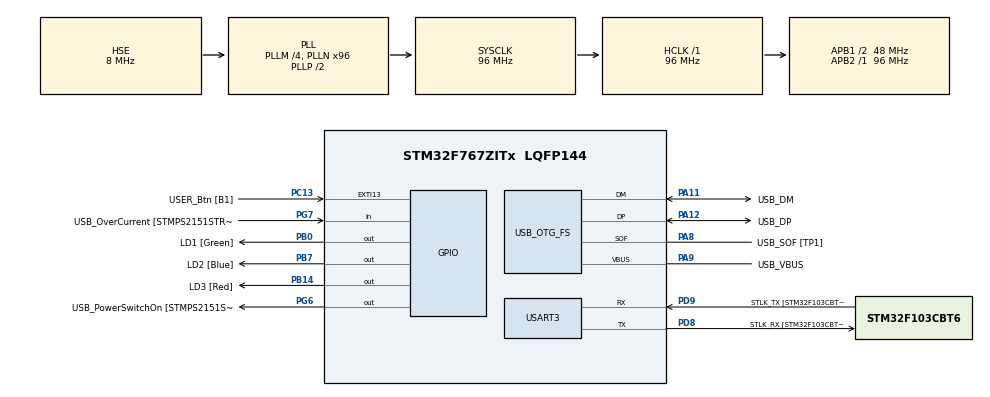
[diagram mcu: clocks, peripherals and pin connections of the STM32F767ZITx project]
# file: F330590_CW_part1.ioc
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Mcu.Family=STM32F7
Mcu.Name=STM32F767ZITx
Mcu.Package=LQFP144
NVIC.PriorityGroup=NVIC_PRIORITYGROUP_4
PA1.GPIO_Label=RMII_REF_CLK [LAN8742A-CZ-TR_REFCLK0]
PA1.Signal=ETH_REF_CLK
PA10.GPIO_Label=USB_ID
PA10.Signal=USB_OTG_FS_ID
PA11.GPIO_Label=USB_DM
PA11.Mode=Device_Only
PA11.Signal=USB_OTG_FS_DM
PA12.GPIO_Label=USB_DP
PA12.Mode=Device_Only
PA12.Signal=USB_OTG_FS_DP
PA13.GPIO_Label=TMS
PA13.Mode=Serial_Wire
PA13.Signal=SYS_JTMS-SWDIO
PA14.GPIO_Label=TCK
PA14.Mode=Serial_Wire
PA14.Signal=SYS_JTCK-SWCLK
PA2.GPIO_Label=RMII_MDIO [LAN8742A-CZ-TR_MDIO]
PA2.Signal=ETH_MDIO
PA7.GPIO_Label=RMII_CRS_DV [LAN8742A-CZ-TR_CRS_DV]
PA7.Signal=ETH_CRS_DV
PA8.GPIO_Label=USB_SOF [TP1]
PA8.Mode=Activate_SOF_FS
PA8.Signal=USB_OTG_FS_SOF
PA9.GPIO_Label=USB_VBUS
PA9.Mode=Activate_VBUS
PA9.Signal=USB_OTG_FS_VBUS
PB0.GPIO_Label=LD1 [Green]
PB0.Signal=GPIO_Output
PB13.GPIO_Label=RMII_TXD1 [LAN8742A-CZ-TR_TXD1]
PB13.Signal=ETH_TXD1
PB14.GPIO_Label=LD3 [Red]
PB14.Signal=GPIO_Output
PB3.GPIO_Label=SWO
PB3.Signal=SYS_JTDO-SWO
PB7.GPIO_Label=LD2 [Blue]
PB7.Signal=GPIO_Output
PC1.GPIO_Label=RMII_MDC [LAN8742A-CZ-TR_MDC]
PC1.Signal=ETH_MDC
PC13.GPIO_Label=USER_Btn [B1]
PC13.Signal=GPXTI13
PC14/OSC32_IN.Mode=LSE-External-Oscillator
PC14/OSC32_IN.Signal=RCC_OSC32_IN
PC15/OSC32_OUT.Mode=LSE-External-Oscillator
PC15/OSC32_OUT.Signal=RCC_OSC32_OUT
PC4.GPIO_Label=RMII_RXD0 [LAN8742A-CZ-TR_RXD0]
PC4.Signal=ETH_RXD0
PC5.GPIO_Label=RMII_RXD1 [LAN8742A-CZ-TR_RXD1]
PC5.Signal=ETH_RXD1
PD8.GPIO_Label=STLK_RX [STM32F103CBT6_PA3]
PD8.Mode=Asynchronous
PD8.Signal=USART3_TX
PD9.GPIO_Label=STLK_TX [STM32F103CBT6_PA2]
PD9.Mode=Asynchronous
PD9.Signal=USART3_RX
PG11.GPIO_Label=RMII_TX_EN [LAN8742A-CZ-TR_TXEN]
PG11.Signal=ETH_TX_EN
PG13.GPIO_Label=RMII_TXD0 [LAN8742A-CZ-TR_TXD0]
PG13.Signal=ETH_TXD0
PG6.GPIO_Label=USB_PowerSwitchOn [STMPS2151STR_EN]
PG6.Signal=GPIO_Output
PG7.GPIO_Label=USB_OverCurrent [STMPS2151STR_FAULT]
PG7.Signal=GPIO_Input
PH0/OSC_IN.GPIO_Label=MCO [STM32F103CBT6_PA8]
PH0/OSC_IN.Mode=HSE-External-Clock-Source
PH0/OSC_IN.Signal=RCC_OSC_IN
PH1/OSC_OUT.Mode=HSE-External-Clock-Source
PH1/OSC_OUT.Signal=RCC_OSC_OUT
ProjectManager.HeapSize=0x200
ProjectManager.StackSize=0x400
ProjectManager.TargetToolchain=STM32CubeIDE
RCC.48MHZClocksFreq_Value=24000000
RCC.AHBFreq_Value=96000000
RCC.APB1CLKDivider=RCC_HCLK_DIV2
RCC.APB1Freq_Value=48000000
RCC.APB1TimFreq_Value=96000000
RCC.APB2Freq_Value=96000000
RCC.APB2TimFreq_Value=96000000
RCC.CortexFreq_Value=96000000
RCC.HCLKFreq_Value=96000000
RCC.HSE_VALUE=8000000
RCC.HSI_VALUE=16000000
RCC.PLLM=4
RCC.PLLMUL=RCC_PLL_MUL9
RCC.PLLN=96
RCC.PLLQ=4
RCC.PRESCALERUSB=RCC_USBCLKSOURCE_PLL_DIV1_5
RCC.SYSCLKFreq_VALUE=96000000
RCC.SYSCLKSource=RCC_SYSCLKSOURCE_PLLCLK
RCC.SYSCLKSourceVirtual=RCC_SYSCLKSOURCE_PLLCLK
RCC.USBFreq_Value=48000000
RCC.VCOOutputFreq_Value=192000000
TIM11.Prescaler=96
USART3.VirtualMode-Asynchronous=VM_ASYNC
USB_OTG_FS.VirtualMode=Device_Only
VP_TIM11_VS_ClockSourceINT.Mode=Enable_Timer
board=NUCLEO-F767ZI

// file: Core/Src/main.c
/* USER CODE BEGIN Header */
/**
  ******************************************************************************
  * @file           : main.c
  * @brief          : Main program body
  ******************************************************************************
  * @attention
  *
  * Copyright (c) 2026 STMicroelectronics.
  * All rights reserved.
  *
  * This software is licensed under terms that can be found in the LICENSE file
  * in the root directory of this software component.
  * If no LICENSE file comes with this software, it is provided AS-IS.
  *
  ******************************************************************************
  */
/* USER CODE END Header */
#include "main.h"

/* USER CODE BEGIN Includes */
#include <stdbool.h>
#include <stdlib.h>
#include <string.h>
#include <math.h>
#include <stdio.h>
#include "stm32f7xx_ll_cortex.h"
/* USER CODE END Includes */

/* USER CODE BEGIN PTD */
typedef struct linked_list linked_list_t;
typedef struct neural_net neural_net_t;
/* USER CODE END PTD */

TIM_HandleTypeDef htim11;
UART_HandleTypeDef huart3;
PCD_HandleTypeDef hpcd_USB_OTG_FS;

void SystemClock_Config(void);
static void MX_GPIO_Init(void);
static void MX_USART3_UART_Init(void);
static void MX_USB_OTG_FS_PCD_Init(void);
static void MX_TIM11_Init(void);
/* USER CODE BEGIN PFP */
#ifdef __GNUC__
/* With GCC/RAISONANCE, small printf (option LD Linker->Libraries->Small printf
set to 'Yes') calls __io_putchar() */
#define PUTCHAR_PROTOTYPE int __io_putchar(int ch)
#else
#define PUTCHAR_PROTOTYPE int fputc(int ch, FILE *f)
#endif /* __GNUC__ */
/**
* @brief Retargets the C library printf function to the USART.
* @param None
* @retval None
*/
PUTCHAR_PROTOTYPE
{
/* Place your implementation of fputc here */
/* e.g. write a character to the USART1 and Loop until the end of transmission */
	HAL_UART_Transmit(&huart3, (uint8_t *)&ch, 1, 0xFFFF);
	return ch;
}

linked_list_t* new_linked_list();

bool linked_list_append(linked_list_t *list, void *data);

void *linked_list_remove(linked_list_t *list, int index);

bool linked_list_start_iterator(linked_list_t *list);

void *linked_list_get_next(linked_list_t *list);

int linked_list_length(linked_list_t *list);

void *linked_list_get_last(linked_list_t *list);

neural_net_t* create_neural_net();

void neural_net_add_layer(neural_net_t *neural_net);

void neural_net_add_neuron(neural_net_t *neural_net, double *weights, int n_weights, double bias);

double * neural_net_run(neural_net_t* neural_net, double *data, int len);

uint32_t getCurrentMicros(void);

/* USER CODE END PFP */

/* USER CODE BEGIN 0 */
char uart_buf[50];
int uart_buf_len;
uint16_t timer_val;

int classify (double *results, int size_results){

    int final_class = 0;
    double final_score = *results;
    int i;

    for(i = 1 ; i < size_results ; i++){

        if(results[i] > final_score){
            final_class = i;
            final_score = results[i];

        }

    }

    return final_class;
}

uint32_t getCurrentMicros(void)
{
	LL_SYSTICK_IsActiveCounterFlag();
	uint32_t m = HAL_GetTick();
	const uint32_t tms = SysTick->LOAD + 1;
	__IO uint32_t u = tms - SysTick->VAL;
	if (LL_SYSTICK_IsActiveCounterFlag())
	{
		m = HAL_GetTick();
		u = tms - SysTick->VAL;
	}
	return (m*1000+(u*1000)/tms);
}

struct neural_net{

	    linked_list_t *layers;

	};

	typedef struct{

	    linked_list_t* neurons;
	//  double bias;

	}layer_t;

	typedef struct{

	    double* weights;
	    double bias;
	    int n_weights;

	}neuron_t;

	neural_net_t* create_neural_net(){

	    neural_net_t *neural_net = (neural_net_t*)malloc(sizeof(neural_net_t));
	    neural_net->layers = new_linked_list();

	    return neural_net;

	}

	void neural_net_add_layer(neural_net_t *neural_net){

	    layer_t *layer = malloc(sizeof(layer_t));
	    layer->neurons = new_linked_list();
	    linked_list_append(neural_net->layers, layer);

	}

	void neural_net_add_neuron(neural_net_t *neural_net, double *weights, int n_weights, double bias){

	    layer_t *last_layer = linked_list_get_last(neural_net->layers);

	    neuron_t *neuron  = (neuron_t*)malloc(sizeof(neuron_t));
	    neuron->weights = weights;
	    neuron->n_weights = n_weights;
	    neuron->bias = bias;

	    linked_list_append(last_layer->neurons, neuron);

	}

	double _activation_func(double val){
	    return 1/(1+exp(-val));
	}

	double _neuron_evaluate(neuron_t* neuron, double *data){

	    int i;
	    double result;
	    for(i = 0, result = 0 ; i <  neuron->n_weights ; i++){

	        result += neuron->weights[i] * data[i];

	    }

	    return _activation_func(result + neuron->bias);
	}

	double * neural_net_run(neural_net_t* neural_net, double *data, int len){

	    layer_t *layer;
	    neuron_t *neuron;
	    int i;
	    double result;
	    double *prev_outputs = (double *)malloc(sizeof(double)*len);
	    double *next_outputs = NULL;

	    linked_list_start_iterator(neural_net->layers);

	    memcpy(prev_outputs, data, sizeof(double)*len);

	    while(layer = linked_list_get_next(neural_net->layers)){

	        linked_list_start_iterator(layer->neurons);
	        result = 0;
	        next_outputs = malloc(sizeof(double) * (linked_list_length(layer->neurons)));
	//      next_outputs[linked_list_length(layer->neurons)] = layer->bias;
	        i = 0;

	        while(neuron = linked_list_get_next(layer->neurons)){

	            next_outputs[i] = _neuron_evaluate(neuron, prev_outputs);
	            i++;

	        }

	        free(prev_outputs);
	        prev_outputs = next_outputs;

	    }

	    return prev_outputs;
	}

	typedef struct node node_t;

	struct node{

	    void *data;
	    node_t *next;

	};

	struct linked_list{

	    node_t *head;
	    node_t *tail;
	    node_t *iterator;
	    int length;

	};

	linked_list_t* new_linked_list(){

	    linked_list_t *linked_list = (linked_list_t*)malloc(sizeof(linked_list_t));

	    linked_list->head = NULL;
	    linked_list->iterator = NULL;
	    linked_list->tail = NULL;
	    linked_list->length = 0;

	    return linked_list;

	}

	bool linked_list_append(linked_list_t *list, void *data){

	    node_t *node = (node_t*) malloc(sizeof(node_t));

	    node->data = data;
	    node->next = NULL;

	    if(list->head == NULL){
	        list->head = node;
	        list->tail = node;
	    }else{
	        list->tail->next = node;
	        list->tail = node;
	    }

	    list->length++;

	}

	void *linked_list_remove(linked_list_t *list, int index){

	    if(index >= list->length){
	        return NULL;
	    }

	    if(index == 0){

	        void *data = list->head->data;
	        node_t *node_to_remove = list->head;
	        list->head = list->head->next;

	        free(node_to_remove);

	        if(list->head == NULL){
	            list->tail == NULL;
	        }

	        list->length--;
	        return data;

	    }

	    int current_index = 0;
	    node_t* node = list->head;

	    while(current_index < index - 1){
	        current_index++;
	        node = node->next;
	    }

	    node_t* node_to_remove = node->next;
	    node->next = node_to_remove->next;
	    void *data = node_to_remove->data;

	    if(index == list->length - 1){
	        list->tail = node;
	    }

	    free(node_to_remove);
	    list->length--;

	    return data;

	}

	bool linked_list_start_iterator(linked_list_t *list){
	    list->iterator = list->head;
	}

	void *linked_list_get_next(linked_list_t *list){

	    if(list->iterator == NULL){
	        return NULL;
	    }

	    void *data = list->iterator->data;
	    list->iterator = list->iterator->next;
	    return data;

	}

	int linked_list_length(linked_list_t *list){

	    return list->length;

	}

	void *linked_list_get_last(linked_list_t *list){

	    return list->tail->data;

	}

/* USER CODE END 0 */

int main(void)
{

  /* MCU Configuration--------------------------------------------------------*/

  /* Reset of all peripherals, Initializes the Flash interface and the Systick. */
  HAL_Init();

  /* Configure the system clock */
  SystemClock_Config();

  /* Initialize all configured peripherals */
  MX_GPIO_Init();
  MX_USART3_UART_Init();
  MX_USB_OTG_FS_PCD_Init();
  MX_TIM11_Init();
  /* USER CODE BEGIN 2 */
  HAL_TIM_Base_Start(&htim11);
  int i;
  const double *result;
  int run;
  int max_run = 10; // Change this value to change the number of runs.
  uint32_t run_times[max_run];
  uint32_t start_time;
  uint32_t end_time;
  uint32_t run_time;
  uint32_t total_time = 0;
  uint32_t avg_time = 0;

      neural_net_t *neural_net = create_neural_net();

      neural_net_add_layer(neural_net);
      double w_0_0[] = { 0.18284023, -0.8529724 ,  0.9295352 ,  0.27745247};
      neural_net_add_neuron(neural_net, w_0_0,  4, -0.5623624);

      double w_0_1[] = {-0.17880775, -0.42715448,  0.5908963 ,  0.45988828};
      neural_net_add_neuron(neural_net, w_0_1,  4, -0.05714933);

      double w_0_2[] = {-0.48771185, -0.3112061 , -0.3137951 ,  0.5289104 };
      neural_net_add_neuron(neural_net, w_0_2,  4, -0.053803623);

      double w_0_3[] = { 0.24778503,  0.9340235 , -1.4063437 , -1.3005494 };
      neural_net_add_neuron(neural_net, w_0_3,  4, 0.27202815);

      double w_0_4[] = { 0.72132677, -0.12656425, -1.1483048 , -0.083784  };
      neural_net_add_neuron(neural_net, w_0_4,  4, 0.41053805);

      double w_0_5[] = { 0.05532144,  0.47561175, -0.17761162, -1.3145427 };
      neural_net_add_neuron(neural_net, w_0_5,  4, 0.28362706);

      double w_0_6[] = { 0.12644108, -0.6311569 ,  0.03945397, -0.53849036};
      neural_net_add_neuron(neural_net, w_0_6,  4, 0.025350625);

      double w_0_7[] = { 0.21844819,  0.30629316, -0.961491  , -0.46816182};
      neural_net_add_neuron(neural_net, w_0_7,  4, 0.6091357);

      neural_net_add_layer(neural_net);
      double w_1_0[] = {-1.2635437 , -1.316526  ,  0.28543112,  1.3884338 ,  0.45282924,
        1.0371606 ,  0.12748991,  0.6325952 };
      neural_net_add_neuron(neural_net, w_1_0,  8, -0.43309692);

      double w_1_1[] = { 0.497385  , -0.632777  ,  0.38966534, -1.2256211 , -0.19634834,
        0.25377455,  0.6375568 , -0.5464157 };
      neural_net_add_neuron(neural_net, w_1_1,  8, -0.14760242);

      double w_1_2[] = { 0.3835234 ,  0.10146759, -0.32170305, -1.1918751 , -1.1514843 ,
       -0.8062826 , -0.69583875, -0.74578637};
      neural_net_add_neuron(neural_net, w_1_2,  8, 0.14179966);

      	static const double test_data[150][6] = {
        {0,5.1,3.5,1.4,0.2,0.0},
        {1,4.9,3.0,1.4,0.2,0.0},
        {2,4.7,3.2,1.3,0.2,0.0},
        {3,4.6,3.1,1.5,0.2,0.0},
        {4,5.0,3.6,1.4,0.2,0.0},
        {5,5.4,3.9,1.7,0.4,0.0},
        {6,4.6,3.4,1.4,0.3,0.0},
        {7,5.0,3.4,1.5,0.2,0.0},
        {8,4.4,2.9,1.4,0.2,0.0},
        {9,4.9,3.1,1.5,0.1,0.0},
        {10,5.4,3.7,1.5,0.2,0.0},
        {11,4.8,3.4,1.6,0.2,0.0},
        {12,4.8,3.0,1.4,0.1,0.0},
        {13,4.3,3.0,1.1,0.1,0.0},
        {14,5.8,4.0,1.2,0.2,0.0},
        {15,5.7,4.4,1.5,0.4,0.0},
        {16,5.4,3.9,1.3,0.4,0.0},
        {17,5.1,3.5,1.4,0.3,0.0},
        {18,5.7,3.8,1.7,0.3,0.0},
        {19,5.1,3.8,1.5,0.3,0.0},
        {20,5.4,3.4,1.7,0.2,0.0},
        {21,5.1,3.7,1.5,0.4,0.0},
        {22,4.6,3.6,1.0,0.2,0.0},
        {23,5.1,3.3,1.7,0.5,0.0},
        {24,4.8,3.4,1.9,0.2,0.0},
        {25,5.0,3.0,1.6,0.2,0.0},
        {26,5.0,3.4,1.6,0.4,0.0},
        {27,5.2,3.5,1.5,0.2,0.0},
        {28,5.2,3.4,1.4,0.2,0.0},
        {29,4.7,3.2,1.6,0.2,0.0},
        {30,4.8,3.1,1.6,0.2,0.0},
        {31,5.4,3.4,1.5,0.4,0.0},
        {32,5.2,4.1,1.5,0.1,0.0},
        {33,5.5,4.2,1.4,0.2,0.0},
        {34,4.9,3.1,1.5,0.2,0.0},
        {35,5.0,3.2,1.2,0.2,0.0},
        {36,5.5,3.5,1.3,0.2,0.0},
        {37,4.9,3.6,1.4,0.1,0.0},
        {38,4.4,3.0,1.3,0.2,0.0},
        {39,5.1,3.4,1.5,0.2,0.0},
        {40,5.0,3.5,1.3,0.3,0.0},
        {41,4.5,2.3,1.3,0.3,0.0},
        {42,4.4,3.2,1.3,0.2,0.0},
        {43,5.0,3.5,1.6,0.6,0.0},
        {44,5.1,3.8,1.9,0.4,0.0},
        {45,4.8,3.0,1.4,0.3,0.0},
        {46,5.1,3.8,1.6,0.2,0.0},
        {47,4.6,3.2,1.4,0.2,0.0},
        {48,5.3,3.7,1.5,0.2,0.0},
        {49,5.0,3.3,1.4,0.2,0.0},
        {50,7.0,3.2,4.7,1.4,1.0},
        {51,6.4,3.2,4.5,1.5,1.0},
        {52,6.9,3.1,4.9,1.5,1.0},
        {53,5.5,2.3,4.0,1.3,1.0},
        {54,6.5,2.8,4.6,1.5,1.0},
        {55,5.7,2.8,4.5,1.3,1.0},
        {56,6.3,3.3,4.7,1.6,1.0},
        {57,4.9,2.4,3.3,1.0,1.0},
        {58,6.6,2.9,4.6,1.3,1.0},
        {59,5.2,2.7,3.9,1.4,1.0},
        {60,5.0,2.0,3.5,1.0,1.0},
        {61,5.9,3.0,4.2,1.5,1.0},
        {62,6.0,2.2,4.0,1.0,1.0},
        {63,6.1,2.9,4.7,1.4,1.0},
        {64,5.6,2.9,3.6,1.3,1.0},
        {65,6.7,3.1,4.4,1.4,1.0},
        {66,5.6,3.0,4.5,1.5,1.0},
        {67,5.8,2.7,4.1,1.0,1.0},
        {68,6.2,2.2,4.5,1.5,1.0},
        {69,5.6,2.5,3.9,1.1,1.0},
        {70,5.9,3.2,4.8,1.8,1.0},
        {71,6.1,2.8,4.0,1.3,1.0},
        {72,6.3,2.5,4.9,1.5,1.0},
        {73,6.1,2.8,4.7,1.2,1.0},
        {74,6.4,2.9,4.3,1.3,1.0},
        {75,6.6,3.0,4.4,1.4,1.0},
        {76,6.8,2.8,4.8,1.4,1.0},
        {77,6.7,3.0,5.0,1.7,1.0},
        {78,6.0,2.9,4.5,1.5,1.0},
        {79,5.7,2.6,3.5,1.0,1.0},
        {80,5.5,2.4,3.8,1.1,1.0},
        {81,5.5,2.4,3.7,1.0,1.0},
        {82,5.8,2.7,3.9,1.2,1.0},
        {83,6.0,2.7,5.1,1.6,1.0},
        {84,5.4,3.0,4.5,1.5,1.0},
        {85,6.0,3.4,4.5,1.6,1.0},
        {86,6.7,3.1,4.7,1.5,1.0},
        {87,6.3,2.3,4.4,1.3,1.0},
        {88,5.6,3.0,4.1,1.3,1.0},
        {89,5.5,2.5,4.0,1.3,1.0},
        {90,5.5,2.6,4.4,1.2,1.0},
        {91,6.1,3.0,4.6,1.4,1.0},
        {92,5.8,2.6,4.0,1.2,1.0},
        {93,5.0,2.3,3.3,1.0,1.0},
        {94,5.6,2.7,4.2,1.3,1.0},
        {95,5.7,3.0,4.2,1.2,1.0},
        {96,5.7,2.9,4.2,1.3,1.0},
        {97,6.2,2.9,4.3,1.3,1.0},
        {98,5.1,2.5,3.0,1.1,1.0},
        {99,5.7,2.8,4.1,1.3,1.0},
        {100,6.3,3.3,6.0,2.5,2.0},
        {101,5.8,2.7,5.1,1.9,2.0},
        {102,7.1,3.0,5.9,2.1,2.0},
        {103,6.3,2.9,5.6,1.8,2.0},
        {104,6.5,3.0,5.8,2.2,2.0},
        {105,7.6,3.0,6.6,2.1,2.0},
        {106,4.9,2.5,4.5,1.7,2.0},
        {107,7.3,2.9,6.3,1.8,2.0},
        {108,6.7,2.5,5.8,1.8,2.0},
        {109,7.2,3.6,6.1,2.5,2.0},
        {110,6.5,3.2,5.1,2.0,2.0},
        {111,6.4,2.7,5.3,1.9,2.0},
        {112,6.8,3.0,5.5,2.1,2.0},
        {113,5.7,2.5,5.0,2.0,2.0},
        {114,5.8,2.8,5.1,2.4,2.0},
        {115,6.4,3.2,5.3,2.3,2.0},
        {116,6.5,3.0,5.5,1.8,2.0},
        {117,7.7,3.8,6.7,2.2,2.0},
        {118,7.7,2.6,6.9,2.3,2.0},
        {119,6.0,2.2,5.0,1.5,2.0},
        {120,6.9,3.2,5.7,2.3,2.0},
        {121,5.6,2.8,4.9,2.0,2.0},
        {122,7.7,2.8,6.7,2.0,2.0},
        {123,6.3,2.7,4.9,1.8,2.0},
        {124,6.7,3.3,5.7,2.1,2.0},
        {125,7.2,3.2,6.0,1.8,2.0},
        {126,6.2,2.8,4.8,1.8,2.0},
        {127,6.1,3.0,4.9,1.8,2.0},
        {128,6.4,2.8,5.6,2.1,2.0},
        {129,7.2,3.0,5.8,1.6,2.0},
        {130,7.4,2.8,6.1,1.9,2.0},
        {131,7.9,3.8,6.4,2.0,2.0},
        {132,6.4,2.8,5.6,2.2,2.0},
        {133,6.3,2.8,5.1,1.5,2.0},
        {134,6.1,2.6,5.6,1.4,2.0},
        {135,7.7,3.0,6.1,2.3,2.0},
        {136,6.3,3.4,5.6,2.4,2.0},
        {137,6.4,3.1,5.5,1.8,2.0},
        {138,6.0,3.0,4.8,1.8,2.0},
        {139,6.9,3.1,5.4,2.1,2.0},
        {140,6.7,3.1,5.6,2.4,2.0},
        {141,6.9,3.1,5.1,2.3,2.0},
        {142,5.8,2.7,5.1,1.9,2.0},
        {143,6.8,3.2,5.9,2.3,2.0},
        {144,6.7,3.3,5.7,2.5,2.0},
        {145,6.7,3.0,5.2,2.3,2.0},
        {146,6.3,2.5,5.0,1.9,2.0},
        {147,6.5,3.0,5.2,2.0,2.0},
        {148,6.2,3.4,5.4,2.3,2.0},
        {149,5.9,3.0,5.1,1.8,2.0}
    };

      for(run = 0; run < max_run; run++){
          run_time = 0;
          for(i = 0; i < 150; i++){
              start_time = getCurrentMicros();
              result = neural_net_run(neural_net, test_data[i] + 1, 4);
              end_time = getCurrentMicros();
              run_time += (end_time - start_time);

              printf("%lf %lf %lf -> %d\n", *result, result[1], result[2], classify(result, 3));
              free(result);
          }
          run_times[run] = run_time; // The current run_time is appended to the array run_times, so that it can be accessed later.
          total_time += run_time;
      }

      // run_times stored in the array are accessed one by one and printed at the end the execution time of each run.
      for(run = 0; run < max_run; run++){
          uart_buf_len = sprintf(uart_buf, "Run %d: %lu us\r", run + 1, run_times[run]);
          HAL_UART_Transmit(&huart3, (uint8_t *)uart_buf, uart_buf_len, 100);
      }

      // avg_time is calculated and then output alongside how many runs are conducted for the average.
      avg_time = total_time / max_run;
      uart_buf_len = sprintf(uart_buf, "Average inference time across %d runs: %lu us\r\n", max_run, avg_time);
      HAL_UART_Transmit(&huart3, (uint8_t *)uart_buf, uart_buf_len, 100);
  /* USER CODE END 2 */

  /* Infinite loop */
  while (1)
  {
  }

}

void SystemClock_Config(void)
{
  RCC_OscInitTypeDef RCC_OscInitStruct = {0};
  RCC_ClkInitTypeDef RCC_ClkInitStruct = {0};

  /** Configure LSE Drive Capability
  */
  HAL_PWR_EnableBkUpAccess();

  /** Configure the main internal regulator output voltage
  */
  __HAL_RCC_PWR_CLK_ENABLE();
  __HAL_PWR_VOLTAGESCALING_CONFIG(PWR_REGULATOR_VOLTAGE_SCALE3);

  /** Initializes the RCC Oscillators according to the specified parameters
  * in the RCC_OscInitTypeDef structure.
  */
  RCC_OscInitStruct.OscillatorType = RCC_OSCILLATORTYPE_HSE;
  RCC_OscInitStruct.HSEState = RCC_HSE_BYPASS;
  RCC_OscInitStruct.PLL.PLLState = RCC_PLL_ON;
  RCC_OscInitStruct.PLL.PLLSource = RCC_PLLSOURCE_HSE;
  RCC_OscInitStruct.PLL.PLLM = 4;
  RCC_OscInitStruct.PLL.PLLN = 96;
  RCC_OscInitStruct.PLL.PLLP = RCC_PLLP_DIV2;
  RCC_OscInitStruct.PLL.PLLQ = 4;
  RCC_OscInitStruct.PLL.PLLR = 2;
  if (HAL_RCC_OscConfig(&RCC_OscInitStruct) != HAL_OK)
  {
    Error_Handler();
  }

  /** Activate the Over-Drive mode
  */
  if (HAL_PWREx_EnableOverDrive() != HAL_OK)
  {
    Error_Handler();
  }

  /** Initializes the CPU, AHB and APB buses clocks
  */
  RCC_ClkInitStruct.ClockType = RCC_CLOCKTYPE_HCLK|RCC_CLOCKTYPE_SYSCLK
                              |RCC_CLOCKTYPE_PCLK1|RCC_CLOCKTYPE_PCLK2;
  RCC_ClkInitStruct.SYSCLKSource = RCC_SYSCLKSOURCE_PLLCLK;
  RCC_ClkInitStruct.AHBCLKDivider = RCC_SYSCLK_DIV1;
  RCC_ClkInitStruct.APB1CLKDivider = RCC_HCLK_DIV2;
  RCC_ClkInitStruct.APB2CLKDivider = RCC_HCLK_DIV1;

  if (HAL_RCC_ClockConfig(&RCC_ClkInitStruct, FLASH_LATENCY_3) != HAL_OK)
  {
    Error_Handler();
  }
}

static void MX_TIM11_Init(void)
{

  htim11.Instance = TIM11;
  htim11.Init.Prescaler = 96;
  htim11.Init.CounterMode = TIM_COUNTERMODE_UP;
  htim11.Init.Period = 65535;
  htim11.Init.ClockDivision = TIM_CLOCKDIVISION_DIV1;
  htim11.Init.AutoReloadPreload = TIM_AUTORELOAD_PRELOAD_DISABLE;
  if (HAL_TIM_Base_Init(&htim11) != HAL_OK)
  {
    Error_Handler();
  }

}

static void MX_USART3_UART_Init(void)
{

  huart3.Instance = USART3;
  huart3.Init.BaudRate = 115200;
  huart3.Init.WordLength = UART_WORDLENGTH_8B;
  huart3.Init.StopBits = UART_STOPBITS_1;
  huart3.Init.Parity = UART_PARITY_NONE;
  huart3.Init.Mode = UART_MODE_TX_RX;
  huart3.Init.HwFlowCtl = UART_HWCONTROL_NONE;
  huart3.Init.OverSampling = UART_OVERSAMPLING_16;
  huart3.Init.OneBitSampling = UART_ONE_BIT_SAMPLE_DISABLE;
  huart3.AdvancedInit.AdvFeatureInit = UART_ADVFEATURE_NO_INIT;
  if (HAL_UART_Init(&huart3) != HAL_OK)
  {
    Error_Handler();
  }

}

static void MX_USB_OTG_FS_PCD_Init(void)
{

  hpcd_USB_OTG_FS.Instance = USB_OTG_FS;
  hpcd_USB_OTG_FS.Init.dev_endpoints = 6;
  hpcd_USB_OTG_FS.Init.speed = PCD_SPEED_FULL;
  hpcd_USB_OTG_FS.Init.dma_enable = DISABLE;
  hpcd_USB_OTG_FS.Init.phy_itface = PCD_PHY_EMBEDDED;
  hpcd_USB_OTG_FS.Init.Sof_enable = ENABLE;
  hpcd_USB_OTG_FS.Init.low_power_enable = DISABLE;
  hpcd_USB_OTG_FS.Init.lpm_enable = DISABLE;
  hpcd_USB_OTG_FS.Init.vbus_sensing_enable = ENABLE;
  hpcd_USB_OTG_FS.Init.use_dedicated_ep1 = DISABLE;
  if (HAL_PCD_Init(&hpcd_USB_OTG_FS) != HAL_OK)
  {
    Error_Handler();
  }

}

static void MX_GPIO_Init(void)
{
  GPIO_InitTypeDef GPIO_InitStruct = {0};

  /* GPIO Ports Clock Enable */
  __HAL_RCC_GPIOC_CLK_ENABLE();
  __HAL_RCC_GPIOH_CLK_ENABLE();
  __HAL_RCC_GPIOA_CLK_ENABLE();
  __HAL_RCC_GPIOB_CLK_ENABLE();
  __HAL_RCC_GPIOD_CLK_ENABLE();
  __HAL_RCC_GPIOG_CLK_ENABLE();

  /*Configure GPIO pin Output Level */
  HAL_GPIO_WritePin(GPIOB, LD1_Pin|LD3_Pin|LD2_Pin, GPIO_PIN_RESET);

  /*Configure GPIO pin Output Level */
  HAL_GPIO_WritePin(USB_PowerSwitchOn_GPIO_Port, USB_PowerSwitchOn_Pin, GPIO_PIN_RESET);

  /*Configure GPIO pin : USER_Btn_Pin */
  GPIO_InitStruct.Pin = USER_Btn_Pin;
  GPIO_InitStruct.Mode = GPIO_MODE_IT_RISING;
  GPIO_InitStruct.Pull = GPIO_NOPULL;
  HAL_GPIO_Init(USER_Btn_GPIO_Port, &GPIO_InitStruct);

  /*Configure GPIO pins : RMII_MDC_Pin RMII_RXD0_Pin RMII_RXD1_Pin */
  GPIO_InitStruct.Pin = RMII_MDC_Pin|RMII_RXD0_Pin|RMII_RXD1_Pin;
  GPIO_InitStruct.Mode = GPIO_MODE_AF_PP;
  GPIO_InitStruct.Pull = GPIO_NOPULL;
  GPIO_InitStruct.Speed = GPIO_SPEED_FREQ_VERY_HIGH;
  GPIO_InitStruct.Alternate = GPIO_AF11_ETH;
  HAL_GPIO_Init(GPIOC, &GPIO_InitStruct);

  /*Configure GPIO pins : RMII_REF_CLK_Pin RMII_MDIO_Pin RMII_CRS_DV_Pin */
  GPIO_InitStruct.Pin = RMII_REF_CLK_Pin|RMII_MDIO_Pin|RMII_CRS_DV_Pin;
  GPIO_InitStruct.Mode = GPIO_MODE_AF_PP;
  GPIO_InitStruct.Pull = GPIO_NOPULL;
  GPIO_InitStruct.Speed = GPIO_SPEED_FREQ_VERY_HIGH;
  GPIO_InitStruct.Alternate = GPIO_AF11_ETH;
  HAL_GPIO_Init(GPIOA, &GPIO_InitStruct);

  /*Configure GPIO pins : LD1_Pin LD3_Pin LD2_Pin */
  GPIO_InitStruct.Pin = LD1_Pin|LD3_Pin|LD2_Pin;
  GPIO_InitStruct.Mode = GPIO_MODE_OUTPUT_PP;
  GPIO_InitStruct.Pull = GPIO_NOPULL;
  GPIO_InitStruct.Speed = GPIO_SPEED_FREQ_LOW;
  HAL_GPIO_Init(GPIOB, &GPIO_InitStruct);

  /*Configure GPIO pin : RMII_TXD1_Pin */
  GPIO_InitStruct.Pin = RMII_TXD1_Pin;
  GPIO_InitStruct.Mode = GPIO_MODE_AF_PP;
  GPIO_InitStruct.Pull = GPIO_NOPULL;
  GPIO_InitStruct.Speed = GPIO_SPEED_FREQ_VERY_HIGH;
  GPIO_InitStruct.Alternate = GPIO_AF11_ETH;
  HAL_GPIO_Init(RMII_TXD1_GPIO_Port, &GPIO_InitStruct);

  /*Configure GPIO pin : USB_PowerSwitchOn_Pin */
  GPIO_InitStruct.Pin = USB_PowerSwitchOn_Pin;
  GPIO_InitStruct.Mode = GPIO_MODE_OUTPUT_PP;
  GPIO_InitStruct.Pull = GPIO_NOPULL;
  GPIO_InitStruct.Speed = GPIO_SPEED_FREQ_LOW;
  HAL_GPIO_Init(USB_PowerSwitchOn_GPIO_Port, &GPIO_InitStruct);

  /*Configure GPIO pin : USB_OverCurrent_Pin */
  GPIO_InitStruct.Pin = USB_OverCurrent_Pin;
  GPIO_InitStruct.Mode = GPIO_MODE_INPUT;
  GPIO_InitStruct.Pull = GPIO_NOPULL;
  HAL_GPIO_Init(USB_OverCurrent_GPIO_Port, &GPIO_InitStruct);

  /*Configure GPIO pins : RMII_TX_EN_Pin RMII_TXD0_Pin */
  GPIO_InitStruct.Pin = RMII_TX_EN_Pin|RMII_TXD0_Pin;
  GPIO_InitStruct.Mode = GPIO_MODE_AF_PP;
  GPIO_InitStruct.Pull = GPIO_NOPULL;
  GPIO_InitStruct.Speed = GPIO_SPEED_FREQ_VERY_HIGH;
  GPIO_InitStruct.Alternate = GPIO_AF11_ETH;
  HAL_GPIO_Init(GPIOG, &GPIO_InitStruct);

}

void Error_Handler(void)
{
  __disable_irq();
  while (1)
  {
  }
}
